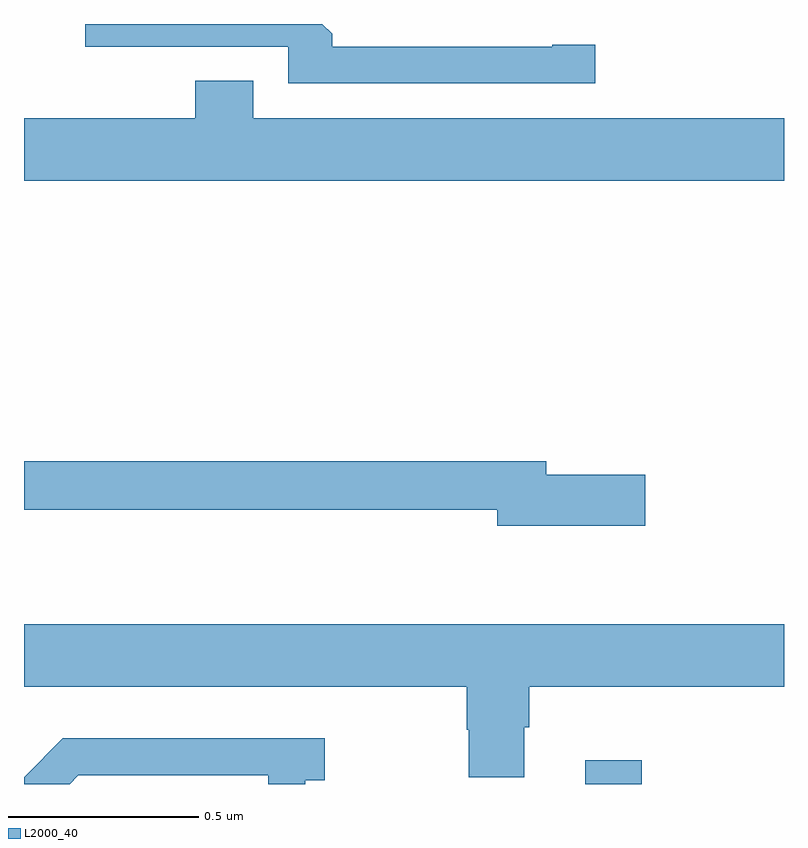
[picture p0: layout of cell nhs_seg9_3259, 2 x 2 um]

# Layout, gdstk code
import gdstk
lib = gdstk.Library(unit=1e-6, precision=1e-09)
def R(c, l, rs):  # rectangles x0, y0, x1, y1
    for r in rs: c.add(gdstk.rectangle(r[:2], r[2:], *l))
def P(c, l, *ps):  # polygons
    for p in ps: c.add(gdstk.Polygon(p, *l))
L2000_40 = (2000, 40)

nhs_seg9_3259 = lib.new_cell('nhs_seg9_3259')
R(nhs_seg9_3259, L2000_40, [(152.477,1193.5,152.626,1193.563)])
P(nhs_seg9_3259, L2000_40, [(152.503,1195.445),(152.39,1195.445),(152.39,1195.44),(151.811,1195.44),(151.811,1195.474),(151.785,1195.5),(151.161,1195.5),(151.161,1195.44),(151.695,1195.44),(151.695,1195.344),(152.503,1195.344)],
  [(153,1195.252),(151.603,1195.252),(151.603,1195.351),(151.451,1195.351),(151.451,1195.252),(151,1195.252),(151,1195.088),(153,1195.088)],
  [(152.635,1194.314),(152.374,1194.314),(152.374,1194.35),(151,1194.35),(151,1194.222),(152.246,1194.222),(152.246,1194.179),(152.635,1194.179)],
  [(152.317,1193.65),(152.33,1193.65),(152.33,1193.756),(153,1193.756),(153,1193.92),(151,1193.92),(151,1193.756),(152.165,1193.756),(152.165,1193.643),(152.17,1193.643),(152.17,1193.518),(152.317,1193.518)],
  [(151.143,1193.523),(151.643,1193.523),(151.643,1193.5),(151.74,1193.5),(151.74,1193.51),(151.792,1193.51),(151.792,1193.62),(151.102,1193.62),(151,1193.518),(151,1193.5),(151.12,1193.5)])

lib.write_gds('nhs_seg9_3259.gds')
